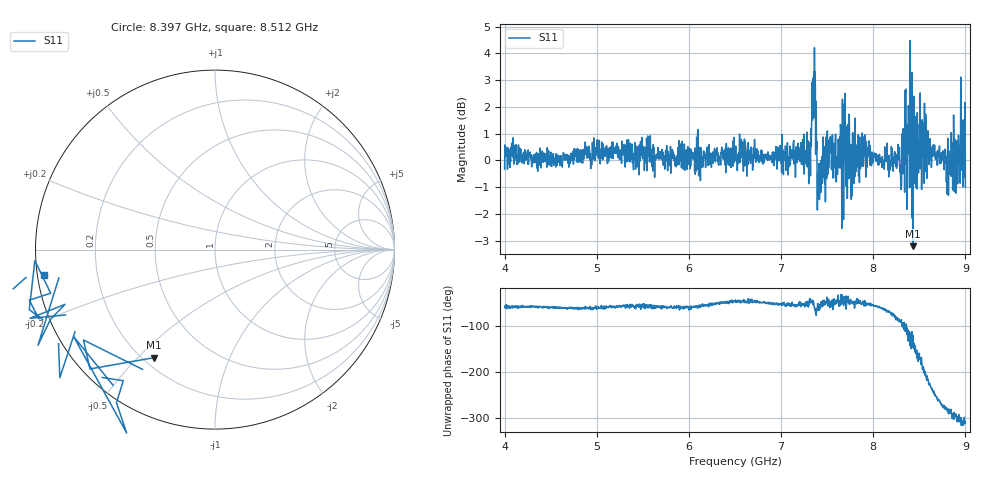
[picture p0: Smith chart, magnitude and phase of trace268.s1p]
! Created with skrf 1.8.0 (http://scikit-rf.org).
# Hz S RI R 50.0
!freq ReS11 ImS11
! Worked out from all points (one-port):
!   1601 points, 4 GHz to 9 GHz, reference 50 ohm
!   lowest |S11| = -3.2 dB at 8.431 GHz (marker M1), VSWR 5.48, Z = 12.1 - j27.9 ohm
!   |S11| at or under -10 dB: nowhere
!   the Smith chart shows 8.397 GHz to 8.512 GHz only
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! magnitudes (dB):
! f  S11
! 4 GHz  -0.3
! 4.1 GHz  -0.1
! 4.625 GHz  -0.2
! 5.25 GHz  0.1
! 5.875 GHz  -0.2
! 6.5 GHz  0.4
! 7.125 GHz  0.3
! 7.294 GHz  0.7
! 7.356 GHz  3.3
! 7.4 GHz  -1.4
! 7.416 GHz  -1.5
! 7.512 GHz  0.7
! 7.588 GHz  -0.1
! 7.669 GHz  0.5
! 7.75 GHz  -0.7
! 7.775 GHz  1.0
! 7.891 GHz  -0.2
! 8.316 GHz  0.3
! 8.334 GHz  -0.4
! 8.375 GHz  0.2
! 8.412 GHz  -0.7
! 8.431 GHz  -3.2
! 8.447 GHz  1.0
! 8.459 GHz  -0.8
! 8.522 GHz  1.0
! 8.819 GHz  -0.3
! 8.972 GHz  0.4
! 9 GHz  -1.0
